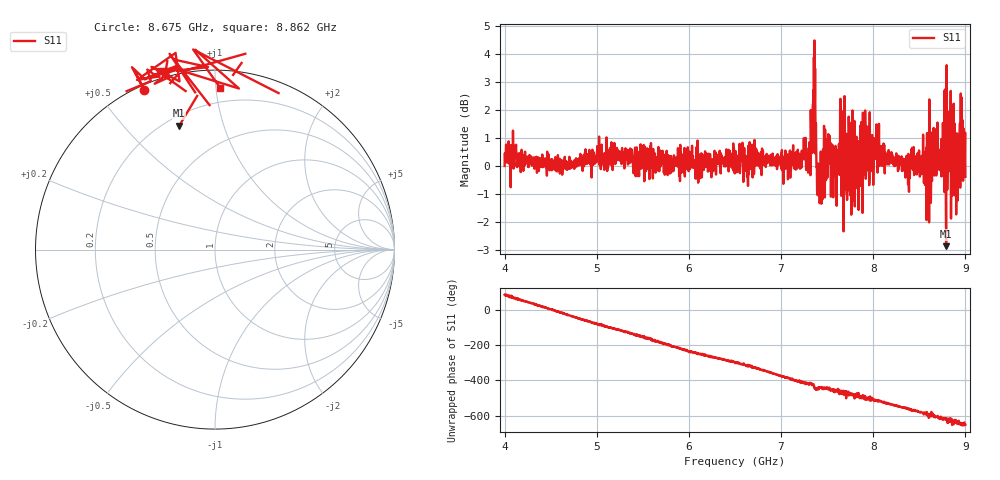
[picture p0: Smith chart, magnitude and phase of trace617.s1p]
! Created with skrf 1.8.0 (http://scikit-rf.org).
# Hz S RI R 50.0
!freq ReS11 ImS11
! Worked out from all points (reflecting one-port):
!   1601 points, 4 GHz to 9 GHz, reference 50 ohm
!   lowest |S11| = -2.9 dB at 8.791 GHz (marker M1), VSWR 6.12, Z = 12.6 + j36.1 ohm
!   phase of S11 starts at 84 deg and turns -735 deg over the sweep
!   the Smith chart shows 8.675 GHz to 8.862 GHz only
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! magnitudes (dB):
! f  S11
! 4 GHz  0.0
! 4.625 GHz  -0.3
! 5.25 GHz  0.2
! 5.875 GHz  0.1
! 6.5 GHz  0.2
! 7.125 GHz  0.2
! 7.294 GHz  -0.2
! 7.347 GHz  2.2
! 7.369 GHz  3.5
! 7.412 GHz  -0.8
! 7.503 GHz  -0.4
! 7.588 GHz  0.5
! 7.65 GHz  1.4
! 7.703 GHz  -0.8
! 7.75 GHz  -1.0
! 7.769 GHz  0.2
! 7.891 GHz  0.2
! 7.981 GHz  -0.1
! 8.038 GHz  0.5
! 8.375 GHz  0.2
! 8.522 GHz  -0.3
! 8.581 GHz  0.2
! 8.656 GHz  1.4
! 8.791 GHz  -2.9
! 8.819 GHz  -0.2
! 8.919 GHz  0.2
! 8.956 GHz  0.4
! 9 GHz  -0.4
